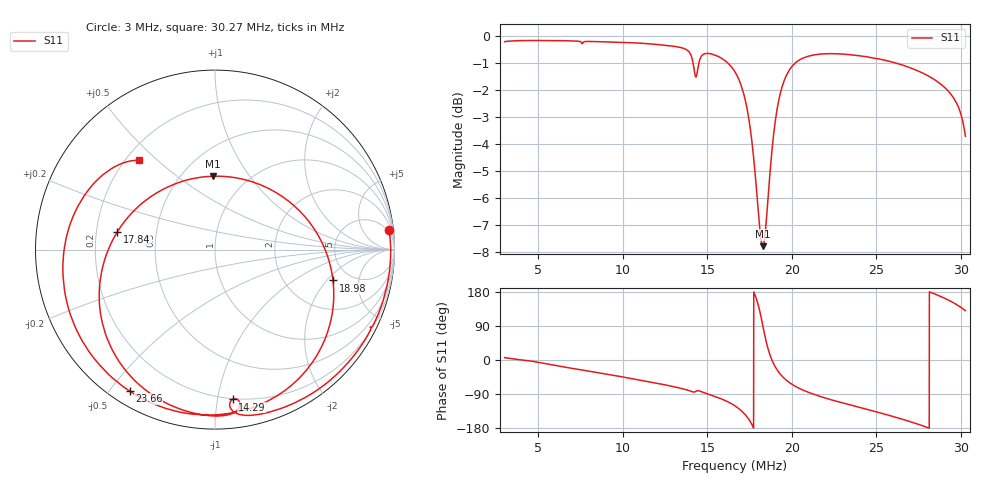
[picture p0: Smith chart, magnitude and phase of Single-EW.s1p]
# HZ S RI R 50
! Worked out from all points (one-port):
!   2727 points, 3 MHz to 30.27 MHz, reference 50 ohm
!   lowest |S11| = -7.8 dB at 18.28 MHz (marker M1), VSWR 2.38, Z = 34.9 + j34.2 ohm
!   |S11| at or under -10 dB: nowhere
!   S11 on the Smith chart (normalised r, x): 3 MHz: 4, +17; 14.29 MHz: 0.19, -1.10; 17.84 MHz: 0.29, +0.08; 18.98 MHz: 3.67, -2.34; 23.66 MHz: 0.05, -0.56; 30.27 MHz: 0.25, +0.44
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3000000  0.9687 0.1067
6411364  0.933 -0.2952
9822728  0.7053 -0.6684
1.323409e7  0.2842 -0.9099
1.392437e7  0.1473 -0.9209
1.429452e7  0.0976 -0.8351
1.455462e7  0.1241 -0.895
1.542497e7  -0.0926 -0.9166
1.663545e7  -0.4423 -0.7343
1.703561e7  -0.5669 -0.5692
1.739576e7  -0.6417 -0.3274
1.763585e7  -0.6284 -0.1079
1.783593e7  -0.5437 0.0995
1.808603e7  -0.2972 0.3316
1.827611e7  -0.0134 0.4087
1.844618e7  0.25 0.3622
1.864626e7  0.4923 0.1931
1.897639e7  0.6574 -0.1718
1.946658e7  0.5775 -0.5721
2.004682e7  0.3692 -0.7991
2.137735e7  -0.028 -0.9215
2.345818e7  -0.4436 -0.8082
2.365826e7  -0.4758 -0.7882
2.52589e7  -0.6925 -0.5814
2.686954e7  -0.8264 -0.2885
2.889035e7  -0.7863 0.1945
2.963065e7  -0.6567 0.3876
3.02709e7  -0.421 0.4981
